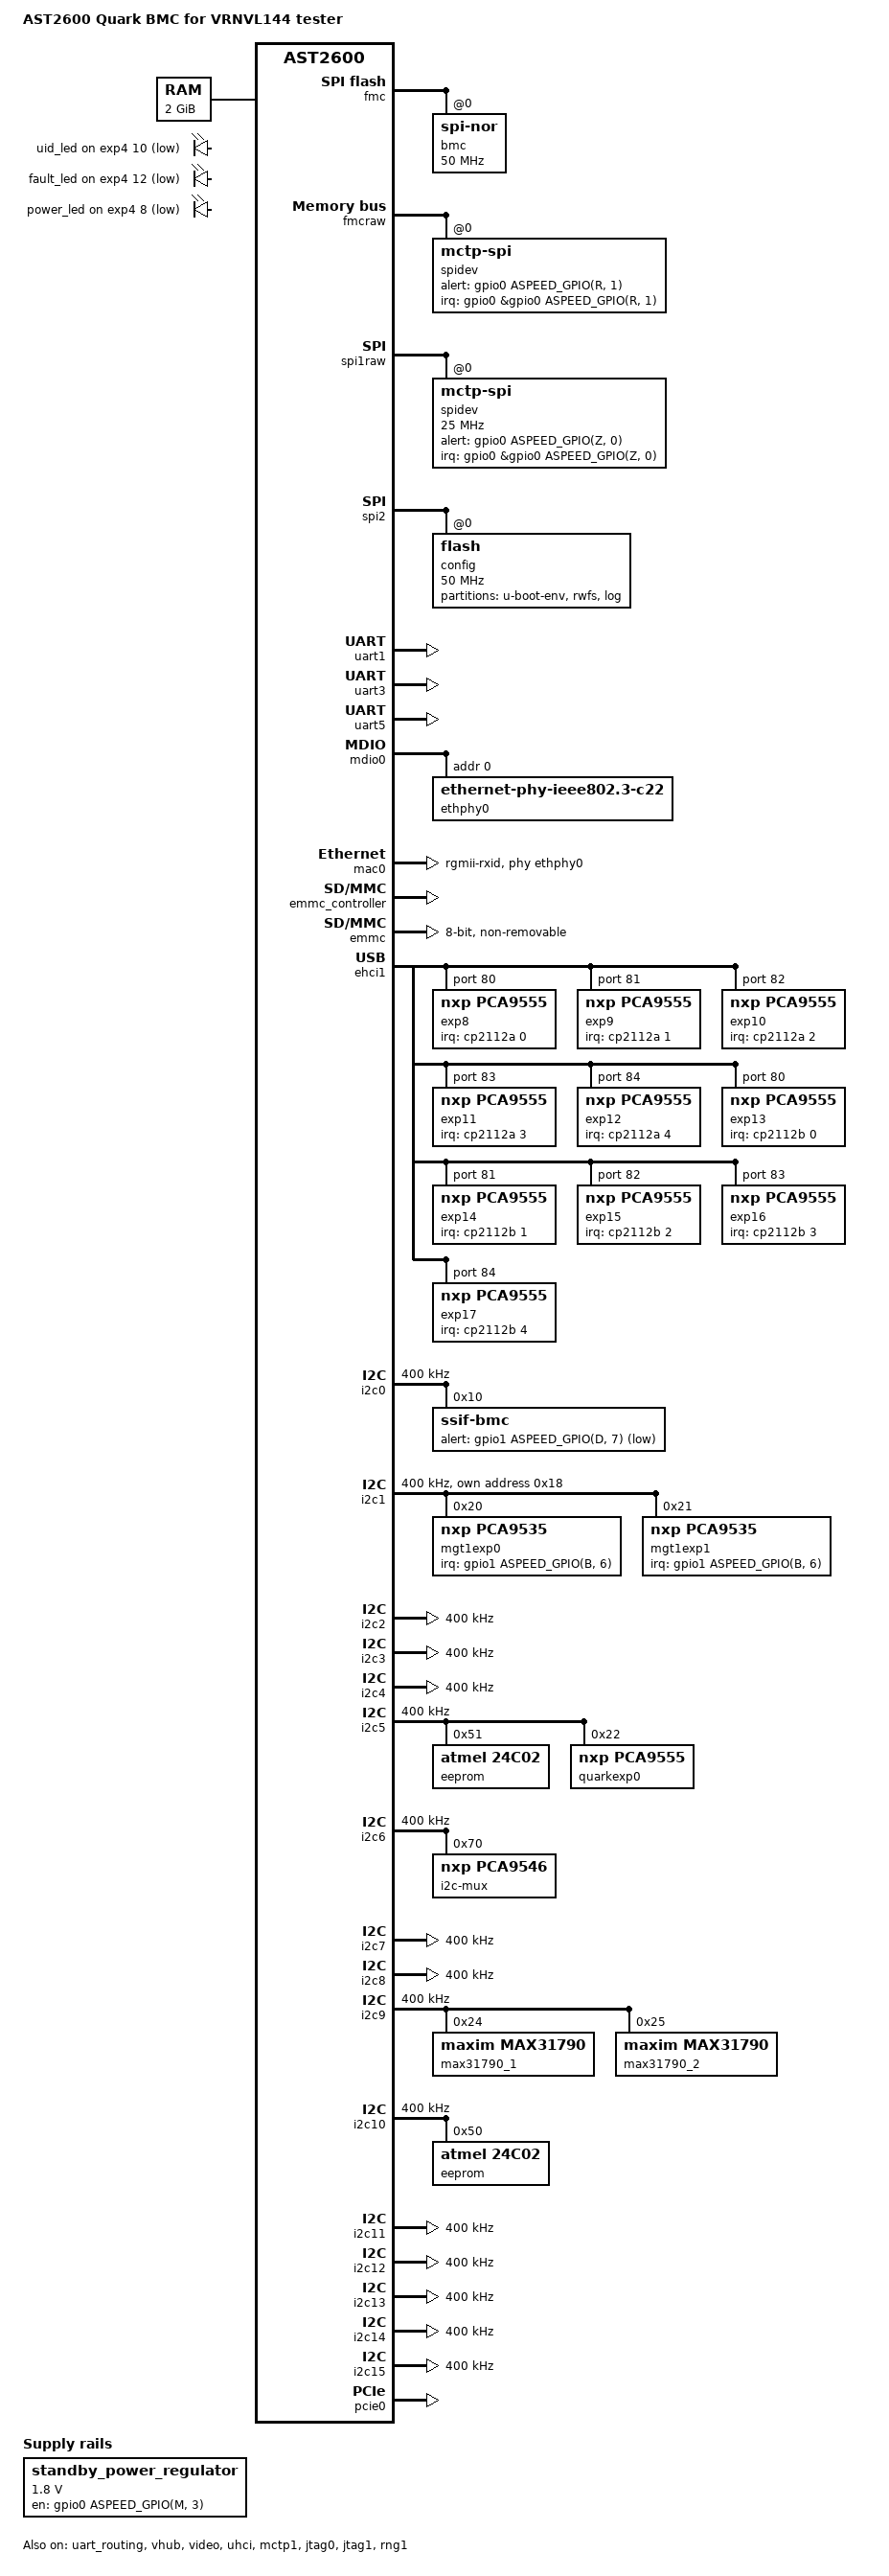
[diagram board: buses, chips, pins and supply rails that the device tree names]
// SPDX-License-Identifier: GPL-2.0+
/dts-v1/;

#include "nvidia-vr-bmc-nvl-core.dtsi"
#include <dt-bindings/leds/common.h>
#include <dt-bindings/i2c/i2c.h>

/ {
    model = "AST2600 Quark BMC for VRNVL144 tester";
    compatible = "aspeed,ast2600";

	aliases {
		serial2 = &uart3;
		serial4 = &uart5;
		i2c16	= &i2c_usbhub;
		i2c17	= &i2c_tpm;
		i2c18	= &i2c_dp;
		i2c19	= &i2c_rtc;
		i2c70	= &i2c70;
		i2c71	= &i2c71;
	};

	chosen {
		stdout-path = &uart5;
		bootargs = "console=tty0 console=ttyS4,115200n8 earlyprintk";
	};

	memory@80000000 {
		device_type = "memory";
		reg = <0x80000000 0x80000000>;
	};

	reserved-memory {
		#address-cells = <1>;
		#size-cells = <1>;
		ranges;

		vga_memory: framebuffer@9f000000 {
			no-map;
			reg = <0x9f000000 0x01000000>; /* 16M */
		};


		ramoops@a0000000 {
			compatible = "ramoops";
			reg = <0xa0000000 0x100000>; /* 1MB */
			record-size = <0x10000>; /* 64KB */
			max-reason = <2>; /* KMSG_DUMP_OOPS */
		};

		gfx_memory: framebuffer {
			size = <0x01000000>;
			alignment = <0x01000000>;
			compatible = "shared-dma-pool";
			reusable;
		};

		video_engine_memory: jpegbuffer {
			size = <0x02000000>;	/* 32M */
			alignment = <0x01000000>;
			compatible = "shared-dma-pool";
			reusable;
		};
	};

    power-gpios{
        n2-gpios = <&gpio0 ASPEED_GPIO(N, 2) (GPIO_ACTIVE_HIGH|GPIO_PULL_UP)>;
        n3-gpios = <&gpio0 ASPEED_GPIO(N, 3) (GPIO_ACTIVE_HIGH|GPIO_PULL_UP)>;
    };

    leds {
        compatible = "gpio-leds";
        uid_led {
                gpios = <&exp4 10 GPIO_ACTIVE_LOW>;
        };
        fault_led {
                gpios = <&exp4 12 GPIO_ACTIVE_LOW>;
        };
        power_led {
                gpios = <&exp4 8 GPIO_ACTIVE_LOW>;
        };
    };

    buttons {
        power-btn {
            gpio = <&exp4 9 GPIO_ACTIVE_LOW>;
        };
        uid-btn {
            gpio = <&exp4 11 GPIO_ACTIVE_LOW>;
        };
    };

    standby_power_regulator: standby-power-regulator {
		status = "okay";
		compatible = "regulator-fixed";
		regulator-name = "standby_power";
		gpio = <&gpio0 ASPEED_GPIO(M, 3) GPIO_ACTIVE_HIGH>;
		regulator-min-microvolt = <1800000>;
		regulator-max-microvolt = <1800000>;
		enable-active-high;
		regulator-always-on;
		regulator-boot-on;
	};
};

// Enabled Primary flash on FMC for bring up activity
&fmc {
    status = "okay";
    flash@0 {
        status = "okay";
        compatible = "jedec,spi-nor";
        label = "bmc";
        spi-max-frequency = <50000000>;
#include "aspeed-bmc-nvidia-gh-flash-layout-64.dtsi"
    };
};

&fmcraw {
    status = "okay";
    spidev@0 {
        compatible = "mctp-spi";
        alert-gpio = <&gpio0 ASPEED_GPIO(R, 1) GPIO_ACTIVE_HIGH>;
        interrupt-parent = <&gpio0>;
        interrupts = <&gpio0 ASPEED_GPIO(R, 1) GPIO_ACTIVE_HIGH>;
        status = "okay";
    };
};

&spi1raw {
    status = "okay";
    pinctrl-names = "default";
    pinctrl-0 = <&pinctrl_spi1_default>;
    spidev@0 {
        compatible = "mctp-spi";
        spi-max-frequency = <25000000>;
        alert-gpio = <&gpio0 ASPEED_GPIO(Z, 0) GPIO_ACTIVE_HIGH>;
        interrupt-parent = <&gpio0>;
        interrupts = <&gpio0 ASPEED_GPIO(Z, 0) GPIO_ACTIVE_HIGH>;
        status = "okay";
    };
};

&spi2 {
    status = "okay";
    pinctrl-names = "default";
    pinctrl-0 = <&pinctrl_spi2_default>;

    // Data SPI is 64MB in size
    flash@0 {
        status = "okay";
        label = "config";
        spi-max-frequency = <50000000>;
        partitions {
            compatible = "fixed-partitions";
            #address-cells = <1>;
            #size-cells = <1>;

            u-boot-env@0 {
                reg = <0x0 0x40000>;            // 256KB at offset 0
                label = "u-boot-env";
            };

            rwfs@40000 {
                reg = <0x40000 0x1000000>;      // 16MB at offset 0x40000
                label = "rwfs";
            };

            log@0x1040000 {
                reg = <0x1040000 0x2800000>;    // 40MB at offset 0x1040000
                label = "log";                  // Move log to EMMC, make this unused
            };
        };
    };
};

&uart1 {
        status = "okay";
};

&uart3 {
        //Enabling SOL
        status = "okay";

};

&uart5 {
    // BMC Debug Console
    status = "okay";
};

&uart_routing {
       status = "okay";
};

// MAC1 (per schematics, 1-based MAC1-MAC4) of AST2600 connected to external PHY
// This is "mac0" in zero-based DTS
&mdio0 {
    status = "okay";
    ethphy0: ethernet-phy@0 {
        compatible = "ethernet-phy-ieee802.3-c22";
        reg = <0>;
    };

};

&mac0 {
    status = "okay";
    pinctrl-names = "default";
    phy-mode = "rgmii-rxid";
    max-speed = <1000>;
    phy-handle = <&ethphy0>;
    pinctrl-0 = <&pinctrl_rgmii1_default>;
};

&mac2 {
    status = "disabled";
};


// Enable emmc
&emmc_controller {
    status = "okay";
};

&emmc {
    non-removable;
    pinctrl-0 = <&pinctrl_emmcg9_default>;
    bus-width = <8>;
    max-frequency = <200000000>;
    clk-phase-mmc-hs200 = <9>, <225>;
};

/*
 * Enable USB port A as device (via the virtual hub) to host
 */
&vhub {
    status = "okay";
    pinctrl-names = "default";
    /*
        Uncomment below line to enable internal EHCI controller
        Current config uses xHCI Port1
    */
    // pinctrl-0 = <&pinctrl_usb2adp_default>;
};

&video {
	status = "okay";
	memory-region = <&video_engine_memory>;
};

// USB 2.0 to HMC, on USB Port B
&ehci1 {
    status = "okay";

    hub@1 {
        reg = <1>;
        hub@2 {
            reg = <2>;
            hub@1 {
                reg = <1>;
                device@1 {
                    reg = <1>;
                    cp2112a: interface@1 {
                        reg = <1 1>;

                        gpio-controller;
                        interrupt-controller;
                        #gpio-cells = <2>;
                        #interrupt-cells = <2>;

                        i2c70: i2c {
                            #address-cells = <1>;
                            #size-cells = <0>;

                            exp8: pca9555@50 {
                                compatible = "nxp,pca9555";
                                reg = <0x50>;
                                gpio-controller;
                                #gpio-cells = <2>;

                                #address-cells = <1>;
                                #size-cells = <0>;
                                interrupt-controller;
                                #interrupt-cells = <2>;
                                interrupt-parent = <&cp2112a>;
                                interrupts = <0 IRQ_TYPE_LEVEL_LOW>;

                                gpio-line-names =
                                    "CPU0_IROT_RECOVERY_L_3V3-I",
                                    "CPU0_IROT_FATAL_ERR_L_3V3-I",
                                    "CPU0_OVERT_L-I",
                                    "C0_THERM_WARN_N-I",
                                    "C0_SOC_THERM_OVERT_N-I",
                                    "CPU0_CHIPTHROT_L-I",
                                    "C0_SOCAMM_0_ID_PRSNT_N-I",
                                    "C0_SOCAMM_1_ID_PRSNT_N-I",
                                    "C0_SOCAMM_2_ID_PRSNT_N-I",
                                    "C0_SOCAMM_3_ID_PRSNT_N-I",
                                    "C0_SOCAMM_4_ID_PRSNT_N-I",
                                    "C0_SOCAMM_5_ID_PRSNT_N-I",
                                    "C0_SOCAMM_6_ID_PRSNT_N-I",
                                    "C0_SOCAMM_7_ID_PRSNT_N-I",
                                    "JTAG_BYPASS_CPU0_S_DIE-O",
                                    "JTAG_BYPASS_CPU0_C_DIE-O";
                            };
                            exp9: pca9555@51 {
                                compatible = "nxp,pca9555";
                                reg = <0x51>;
                                gpio-controller;
                                #gpio-cells = <2>;

                                #address-cells = <1>;
                                #size-cells = <0>;
                                interrupt-controller;
                                #interrupt-cells = <2>;
                                interrupt-parent = <&cp2112a>;
                                interrupts = <1 IRQ_TYPE_LEVEL_LOW>;

                                gpio-line-names =
                                    "C0_UPHY0_PRSNT0_L-I",
                                    "C0_UPHY0_PRSNT2_L-I",
                                    "C0_UPHY_PRSNT1_L-I",
                                    "C0_UPHY2_PRSNT0_L-I",
                                    "C0_UPHY2_PRSNT2_L-I",
                                    "C0_UPHY3_PRSNT0_L-I",
                                    "C0_UPHY3_PRSNT1_L-I",
                                    "GPU_THERM_WARN_N-I",
                                    "JTAG_BYPASS_GPU1-O",
                                    "JTAG_BYPASS_GPU2-O",
                                    "C0_ALL_SOCAMM_PGOOD-I",
                                    "DDR_VDDQ_PGOOD-I",
                                    "CPU0_OOB_CS1_L-O",
                                    "CPU0_OOB_CS0_L-O",
                                    "LEAK_SELF_TEST_L-I",
                                    "TRAY_FAST_SHDN_L-I";
                            };
                            exp10: pca9555@52 {
                                compatible = "nxp,pca9555";
                                reg = <0x52>;
                                gpio-controller;
                                #gpio-cells = <2>;

                                #address-cells = <1>;
                                #size-cells = <0>;
                                interrupt-controller;
                                #interrupt-cells = <2>;
                                interrupt-parent = <&cp2112a>;
                                interrupts = <2 IRQ_TYPE_LEVEL_LOW>;

                                gpio-line-names =
                                    "C0_WAKE_L-I",
                                    "MCU_THERM_OVERT_N-I",
                                    "MCU_THERM_WARN_N-I",
                                    "PRIMARY_NODE_L-I",
                                    "GLOBAL_WP-I",
                                    "PCIE_CLKBUF_LOS-I",
                                    "LEAK_DETECT_L-I",
                                    "vLeakDetect1Status0-I",
                                    "vLeakDetect1Status1-I",
                                    "vLeakDetect2Status0-I",
                                    "vLeakDetect2Status1-I",
                                    "BMC_IOX_INT_L-I",
                                    "MCU_BMC_ALERT_L-I",
                                    "MCU_HMC_ALERT_L-I",
                                    "MCU_USER_STRAP-I",
                                    "HPM_MCU_OK-I";
                            };
                            exp11: pca9555@53 {
                                compatible = "nxp,pca9555";
                                reg = <0x53>;
                                gpio-controller;
                                #gpio-cells = <2>;

                                #address-cells = <1>;
                                #size-cells = <0>;
                                interrupt-controller;
                                #interrupt-cells = <2>;
                                interrupt-parent = <&cp2112a>;
                                interrupts = <3 IRQ_TYPE_LEVEL_LOW>;

                                gpio-line-names =
                                    "CPLD_RESET_L-I",
                                    "CPLD_PSEQ_FAULT-I",
                                    "CPLD_READY-I",
                                    "CPLD_PROGRAM-I",
                                    "MCU_12V_HSCC_PGOOD-I",
                                    "RUN_PWR_EN-I",
                                    "MODULE_PWR_GOOD-I",
                                    "VDD_1V8_PGOOD-I",
                                    "VDD_3V3_PGOOD-I",
                                    "C0_CVDD_PGOOD-I",
                                    "C0_5V_SOCAMM_PGOOD-I",
                                    "OOB_MUX_CTRL1-O",
                                    "OOB_MUX_CTRL0-O",
                                    "C2CVDD_PGOOD-I",
                                    "SLOT_PWR_BRAKE_EN_L-I",
                                    "MCU_I2C_RTC_ALERT_L-I";
                            };
                            exp12: pca9555@54 {
                                compatible = "nxp,pca9555";
                                reg = <0x54>;
                                gpio-controller;
                                #gpio-cells = <2>;

                                #address-cells = <1>;
                                #size-cells = <0>;
                                interrupt-controller;
                                #interrupt-cells = <2>;
                                interrupt-parent = <&cp2112a>;
                                interrupts = <4 IRQ_TYPE_LEVEL_LOW>;

                                gpio-line-names =
                                    "JTAG_SEL_MCU-O",
                                    "JTAG_TCK_MCU-O",
                                    "JTAG_TMS_MCU-O",
                                    "JTAG_TDO_MCU-I",
                                    "JTAG_TDI_MCU-O",
                                    "JTAG_TRST_L_MCU-O",
                                    "CPU0_SSIF_ALERT_L_3V3-O",
                                    "USB_HMC_TO_CPU_FORCE_EN-O",
                                    "MCU_RECOVERY_L-I",
                                    "v_BUS_BAR_OVERT-I",
                                    "v_CPLD_AUTH_FAIL-I",
                                    "",
                                    "",
                                    "",
                                    "",
                                    "";
                            };
                        };
                    };
                };
            };
            hub@2 {
                reg = <2>;
                device@1 {
                    reg = <1>;
                    cp2112b: interface@1 {
                        reg = <1 1>;

                        gpio-controller;
                        interrupt-controller;
                        #gpio-cells = <2>;
                        #interrupt-cells = <2>;

                        i2c71: i2c {
                            #address-cells = <1>;
                            #size-cells = <0>;

                            exp13: pca9555@50 {
                                compatible = "nxp,pca9555";
                                reg = <0x50>;
                                gpio-controller;
                                #gpio-cells = <2>;

                                #address-cells = <1>;
                                #size-cells = <0>;
                                interrupt-controller;
                                #interrupt-cells = <2>;
                                interrupt-parent = <&cp2112b>;
                                interrupts = <0 IRQ_TYPE_LEVEL_LOW>;

                                gpio-line-names =
                                    "SEC_CPU0_IROT_RECOVERY_L_3V3-I",
                                    "SEC_CPU0_IROT_FATAL_ERR_L_3V3-I",
                                    "SEC_CPU0_OVERT_L-I",
                                    "SEC_C0_THERM_WARN_N-I",
                                    "SEC_C0_SOC_THERM_OVERT_N-I",
                                    "SEC_CPU0_CHIPTHROT_L-I",
                                    "SEC_C0_SOCAMM_0_ID_PRSNT_N-I",
                                    "SEC_C0_SOCAMM_1_ID_PRSNT_N-I",
                                    "SEC_C0_SOCAMM_2_ID_PRSNT_N-I",
                                    "SEC_C0_SOCAMM_3_ID_PRSNT_N-I",
                                    "SEC_C0_SOCAMM_4_ID_PRSNT_N-I",
                                    "SEC_C0_SOCAMM_5_ID_PRSNT_N-I",
                                    "SEC_C0_SOCAMM_6_ID_PRSNT_N-I",
                                    "SEC_C0_SOCAMM_7_ID_PRSNT_N-I",
                                    "SEC_JTAG_BYPASS_CPU0_S_DIE-O",
                                    "SEC_JTAG_BYPASS_CPU0_C_DIE-O";
                            };
                            exp14: pca9555@51 {
                                compatible = "nxp,pca9555";
                                reg = <0x51>;
                                gpio-controller;
                                #gpio-cells = <2>;

                                #address-cells = <1>;
                                #size-cells = <0>;
                                interrupt-controller;
                                #interrupt-cells = <2>;
                                interrupt-parent = <&cp2112b>;
                                interrupts = <1 IRQ_TYPE_LEVEL_LOW>;

                                gpio-line-names =
                                    "SEC_C0_UPHY0_PRSNT0_L-I",
                                    "SEC_C0_UPHY0_PRSNT2_L-I",
                                    "SEC_C0_UPHY_PRSNT1_L-I",
                                    "SEC_C0_UPHY2_PRSNT0_L-I",
                                    "SEC_C0_UPHY2_PRSNT2_L-I",
                                    "SEC_C0_UPHY3_PRSNT0_L-I",
                                    "SEC_C0_UPHY3_PRSNT1_L-I",
                                    "SEC_GPU_THERM_WARN_N-I",
                                    "SEC_JTAG_BYPASS_GPU1-O",
                                    "SEC_JTAG_BYPASS_GPU2-O",
                                    "SEC_C0_ALL_SOCAMM_PGOOD-I",
                                    "SEC_DDR_VDDQ_PGOOD-I",
                                    "SEC_CPU0_OOB_CS1_L-O",
                                    "SEC_CPU0_OOB_CS0_L-O",
                                    "SEC_LEAK_SELF_TEST_L-I",
                                    "SEC_TRAY_FAST_SHDN_L-I";
                            };
                            exp15: pca9555@52 {
                                compatible = "nxp,pca9555";
                                reg = <0x52>;
                                gpio-controller;
                                #gpio-cells = <2>;

                                #address-cells = <1>;
                                #size-cells = <0>;
                                interrupt-controller;
                                #interrupt-cells = <2>;
                                interrupt-parent = <&cp2112b>;
                                interrupts = <2 IRQ_TYPE_LEVEL_LOW>;

                                gpio-line-names =
                                    "SEC_C0_WAKE_L-I",
                                    "SEC_MCU_THERM_OVERT_N-I",
                                    "SEC_MCU_THERM_WARN_N-I",
                                    "SEC_PRIMARY_NODE_L-I",
                                    "SEC_GLOBAL_WP-I",
                                    "SEC_PCIE_CLKBUF_LOS-I",
                                    "SEC_LEAK_DETECT_L-I",
                                    "SEC_vLeakDetect1Status0-I",
                                    "SEC_vLeakDetect1Status1-I",
                                    "SEC_vLeakDetect2Status0-I",
                                    "SEC_vLeakDetect2Status1-I",
                                    "SEC_BMC_IOX_INT_L-I",
                                    "SEC_MCU_BMC_ALERT_L-I",
                                    "SEC_MCU_HMC_ALERT_L-I",
                                    "SEC_MCU_USER_STRAP-I",
                                    "SEC_HPM_MCU_OK-I";
                            };
                            exp16: pca9555@53 {
                                compatible = "nxp,pca9555";
                                reg = <0x53>;
                                gpio-controller;
                                #gpio-cells = <2>;

                                #address-cells = <1>;
                                #size-cells = <0>;
                                interrupt-controller;
                                #interrupt-cells = <2>;
                                interrupt-parent = <&cp2112b>;
                                interrupts = <3 IRQ_TYPE_LEVEL_LOW>;

                                gpio-line-names =
                                    "SEC_CPLD_RESET_L-I",
                                    "SEC_CPLD_PSEQ_FAULT-I",
                                    "SEC_CPLD_READY-I",
                                    "SEC_CPLD_PROGRAM-I",
                                    "SEC_MCU_12V_HSCC_PGOOD-I",
                                    "SEC_RUN_PWR_EN-I",
                                    "SEC_MODULE_PWR_GOOD-I",
                                    "SEC_VDD_1V8_PGOOD-I",
                                    "SEC_VDD_3V3_PGOOD-I",
                                    "SEC_C0_CVDD_PGOOD-I",
                                    "SEC_C0_5V_SOCAMM_PGOOD-I",
                                    "SEC_OOB_MUX_CTRL1-O",
                                    "SEC_OOB_MUX_CTRL0-O",
                                    "SEC_C2CVDD_PGOOD-I",
                                    "SEC_SLOT_PWR_BRAKE_EN_L-I",
                                    "SEC_MCU_I2C_RTC_ALERT_L-I";
                            };
                            exp17: pca9555@54 {
                                compatible = "nxp,pca9555";
                                reg = <0x54>;
                                gpio-controller;
                                #gpio-cells = <2>;

                                #address-cells = <1>;
                                #size-cells = <0>;
                                interrupt-controller;
                                #interrupt-cells = <2>;
                                interrupt-parent = <&cp2112b>;
                                interrupts = <4 IRQ_TYPE_LEVEL_LOW>;

                                gpio-line-names =
                                    "SEC_JTAG_SEL_MCU-O",
                                    "SEC_JTAG_TCK_MCU-O",
                                    "SEC_JTAG_TMS_MCU-O",
                                    "SEC_JTAG_TDO_MCU-I",
                                    "SEC_JTAG_TDI_MCU-O",
                                    "SEC_JTAG_TRST_L_MCU-O",
                                    "SEC_CPU0_SSIF_ALERT_L_3V3-O",
                                    "SEC_USB_HMC_TO_CPU_FORCE_EN-O",
                                    "SEC_MCU_RECOVERY_L-I",
                                    "SEC_v_BUS_BAR_OVERT-I",
                                    "SEC_v_CPLD_AUTH_FAIL-I",
                                    "",
                                    "",
                                    "",
                                    "",
                                    "";
                            };
                        };
                    };
                };
            };
        };
    };
};

// USB 1.0
&uhci {
   status = "okay";
};

// I2C1, SSIF IPMI interface
&i2c0 {
    status = "okay";
    clock-frequency = <400000>;
    disable-master = <1>;
    i2c-scl-clk-low-timeout-us = <128000>;
    i2c-tck-thddat-config = <0x0099EC00>;
    tout-baseclk-div = <4096>;

    ssif-bmc@10 {
        compatible = "ssif-bmc";
        alert-gpio = <&gpio1 ASPEED_GPIO(D, 7) GPIO_ACTIVE_LOW>;
        pulse_width_us = <5>;
        timeout_ms = <4995>;
        reg = <0x10>;
        };
};

// I2C2
// BMC_I2C1_FPGA - Secondary FPGA
// HMC EROT
&i2c1 {
    status = "okay";
    clock-frequency = <400000>;
    i2c-scl-clk-low-timeout-us = <32000>;
    i2c-tck-thddat-config = <0x0099EC00>;

    // Enable MCTP for this i2c bus needed for Parsec board.
    mctp-controller;
    multi-master;

    mctp@18 {
        compatible = "mctp-i2c-controller";
        reg = <(0x18 | I2C_OWN_SLAVE_ADDRESS)>;

        /* NACK Retry Config */
        i2c-nack-retries = <32>;
        i2c-nack-retry-delay-us = <0>;
        i2c-nack-retry-addr = <0x52>;
    };

    /* HBM MCU GPIOs on I2C_MGMT1 bus.
     * These IOEXPs are only present when HMC-bypass mode is configured.
     */

    // MGMT1 BOARD0, Expander @0x20
    mgt1exp0: tca9535@20 {
        compatible = "nxp,pca9535";
        reg = <0x20>;
        gpio-controller;
        #gpio-cells = <2>;
        interrupt-controller;
        #interrupt-cells = <2>;
        interrupt-parent = <&gpio1>;
        interrupts = <ASPEED_GPIO(B, 6) IRQ_TYPE_LEVEL_LOW>;

        gpio-line-names =
            "BRD0_MCU_RESET_L-O",
            "BRD0_MCU_RECOVERY_L-O",
            "BRD0_GPU_MCU_RESET_L_3V3-O",
            "BRD0_GPU_MCU_RECOVERY_L_3V3-O",
            "BRD0_THERM_OVERT_L-I",
            "BRD0_THERM_WARN_L-I",
            "BRD0_HMC_IST_PRE_RST_L-O",
            "BRD0_CPLD_READY-I",
            "BRD0_MODULE_PWR_GOOD-I",
            "BRD0_MCU_HMC_ALERT_L-I",
            "BRD0_USB_HMC_HUB_RST_L-O",
            "BRD0_HPM_MCU_OK-I",
            "BRD0_CPU0_SHDN_OK_L_3V3-I",
            "BRD0_CPLD_AUTH_FAIL_L-I",
            "BRD0_IST_SYS_RST_L-O",
            "BRD0_PWR_BRAKE_STATUS_L-I";
    };

    // MGMT1 BOARD0, Expander @0x21
    mgt1exp1: tca9535@21 {
        compatible = "nxp,pca9535";
        reg = <0x21>;
        gpio-controller;
        #gpio-cells = <2>;
        interrupt-controller;
        #interrupt-cells = <2>;
        interrupt-parent = <&gpio1>;
        interrupts = <ASPEED_GPIO(B, 6) IRQ_TYPE_LEVEL_LOW>;

        gpio-line-names =
            "BRD0_CPU_FORCED_RECOVERY_L-O",
            "BRD0_CPU_BOOT_DEV_SEL0-O",
            "BRD0_CPU_BOOT_DEV_SEL1-O",
            "BRD0_CPU_BOOT_DEV_SEL2-O",
            "BRD0_BOARD_ID_0-I",
            "BRD0_CPU_RECOVERY_TYPE0-O",
            "BRD0_CPU_RECOVERY_TYPE1-O",
            "BRD0_CPU_IST_BOOT_HMC-O",
            "BRD0_CPU_BOOT_CHAIN0-O",
            "BRD0_BOARD_ID_1-I",
            "BRD0_HMC_TO_MCU_I2C_EN-O",
            "BRD0_CPU_DIE_SEL0-O",
            "BRD0_CPU_DIE_SEL1-O",
            "BRD0_CPU_DIE_SEL2-O",
            "BRD0_CPU_BOOT_COMPLETE-I",
            "BRD0_IOX_JTAG_NVSEL-O";
    };
};

// I2C3
// BMC_I2C0_FPGA - Primary FPGA
// HMC FRU EEPROM
&i2c2 {
    status = "okay";
    clock-frequency = <400000>;
    i2c-scl-clk-low-timeout-us = <32000>;
    i2c-tck-thddat-config = <0x0099EC00>;
};

// I2C4
&i2c3 {
    status = "ok";
    clock-frequency = <400000>;
};

// I2C5
// RTC Driver
// IO Expander
&i2c4 {
    status = "okay";
    clock-frequency = <400000>;
    i2c-tck-thddat-config = <0x0099EC00>;
};

// I2C6
// Module 0/1 I2C MUX x3
&i2c5 {
    status = "okay";
    clock-frequency = <400000>;
    i2c-scl-clk-low-timeout-us = <32000>;
    i2c-tck-thddat-config = <0x0099EC00>;

    //E5074 Tester Board FRU
    eeprom@51 {
        compatible = "atmel,24c02";
        reg = <0x51>;
        pagesize = <8>;
    };

    /* Quark Tester I/O Expander 0 */
	quarkexp0: pca9555@22 {
		compatible = "nxp,pca9555";
		reg = <0x22>;
		gpio-controller;
		#gpio-cells = <2>;
		#address-cells = <1>;
		#size-cells = <0>;

		gpio-line-names =
			"PEXSW_FL_SPI_MUX_SEL-O",
			"PEX_SW_FATAL_ERROR_3V3_L-I",
			"BMC_FANCTRL_FAIL_L-I",
			"PDB_PWROK-I",
			"BMC_FAN_PWR_EN-O",
			"BMC_ETHERNET_INT-I",
			"BMC_ENET_RST-O",
			"IOEXP_BMC_SELF_PWR_CYCLE-O",
			"BMC_ID-I",
			"IOEXP_BMC_RST_12V-O",
			"IOEXP_TPM_RST_N-O",
			"TPM_DOWN_SPI_INT_L-I",
			"PS_BRD_PGOOD-I",
			"IOEXP_BMC_RST_USB_CONTRL-O",
			"BMC_ENET_SW_I2C_ISO_EN-O",
			"PEX_BMC_CLKREQ_L-O";
	};
};

/* Quark-specific GPIO definitions for system I/O expanders
 * (i2c-address: 0x20, 0x21 @ i2c-5)
 */
&exp4 {
	compatible = "nxp,pca9555";
	reg = <0x20>;
	gpio-controller;
	#gpio-cells = <2>;

	#address-cells = <1>;
	#size-cells = <0>;
	interrupt-controller;
	#interrupt-cells = <2>;
	interrupt-parent = <&gpio1>;
	interrupts = <ASPEED_GPIO(B, 6) IRQ_TYPE_LEVEL_LOW>;
	gpio-line-names =
		"HMC_RST_R_L-O",
		"HMC_RECOVERY_R-O",
		"HMC_SPI_MUX_R_SEL-O",
		"GLOBAL_WP-O",
		"HMC_READY-I",
		"HMC_PRSNT_R-I",
		"BMC_SELF_PWR_CYCLE-O",
		"EEDO_LED2-O",
		"PWR_LED_L-O",
		"PWR_BTN_L-I",
		"",
		"",
		"FAULT_LED_L-O",
		"USB2_HUB1_RST_L-O",
		"",
		"BMC_SHUTOFF_VALVE";
};

&exp5 {
	compatible = "nxp,pca9555";
        reg = <0x21>;
        gpio-controller;
        #gpio-cells = <2>;

        #address-cells = <1>;
        #size-cells = <0>;
        interrupt-controller;
        #interrupt-cells = <2>;
        interrupt-parent = <&gpio1>;
        interrupts = <ASPEED_GPIO(B, 6) IRQ_TYPE_LEVEL_LOW>;
        gpio-line-names =
		"BMC_HMC_MUX_SEL-O",
		"",
		"BMC_USB2_MUX_SEL-O",
		"HMC_PGOOD_3V3-I",
		"M2_PRSNT_L-I",
		"",
		"",
		"",
		"PDB_TRAY_PRSNT",
		"USB3_MUX_EN_L-O",
		"PDB_TRAY_RST-O",
		"USB_PWR_EN-O",
		"RTC_CLR_L-O",
		"I2C_RTC_ALERT_L-I",
		"I2C_PDB_ALERT_L-I",
		"PDB_TRAY_PRSNT_N-I";
};

// I2C7
// Module 0/1 Leak Sensors
// Module 0/1 Fan Controllers
&i2c6 {
	status = "okay";
	clock-frequency = <400000>;
	i2c-tck-thddat-config = <0x0099EC00>;

	i2c-mux@70 {
		compatible = "nxp,pca9546";
		#address-cells = <1>;
		#size-cells = <0>;
		reg = <0x70>;
		i2c-mux-idle-disconnect;

		i2c_usbhub: i2c@0 {
			#address-cells = <1>;
			#size-cells = <0>;
			reg = <0>;
		};

		i2c_tpm: i2c@1 {
			#address-cells = <1>;
			#size-cells = <0>;
			reg = <1>;
		};

		i2c_dp: i2c@2 {
			#address-cells = <1>;
			#size-cells = <0>;
			reg = <2>;
		};

		i2c_rtc: i2c@3 {
			#address-cells = <1>;
			#size-cells = <0>;
			reg = <3>;
		};
	};
};

// I2C8
&i2c7 {
    status = "okay";
    clock-frequency = <400000>;
};

// I2C9
&i2c8 {
    status = "okay";
    clock-frequency = <400000>;
};

// I2C10
// HMC IO Expander
// Module 0/1 IO Expanders
&i2c9 {
    status = "okay";
    clock-frequency = <400000>;
    i2c-tck-thddat-config = <0x0099EC00>;

    max31790_1 {
        compatible = "maxim,max31790";
        reg = <0x24>;
        #address-cells = <1>;
        #size-cells = <0>;
    };
    max31790_2 {
        compatible = "maxim,max31790";
        reg = <0x25>;
        #address-cells = <1>;
        #size-cells = <0>;
    };
    max31790_3 {
        status = "disabled";
    };
    max31790_4 {
        status = "disabled";
    };
};

// I2C11
// BMC FRU EEPROM
// BMC Temp Sensor
&i2c10 {
    status = "okay";
    clock-frequency = <400000>;
    i2c-tck-thddat-config = <0x0099EC00>;
    // BMC FRU EEPROM - 256 bytes
    eeprom@50 {
        compatible = "atmel,24c02";
        reg = <0x50>;
        pagesize = <8>;
    };
};

// I2C12
&i2c11 {
    status = "ok";
    clock-frequency = <400000>;
};

// I2C13
&i2c12 {
    status = "ok";
    clock-frequency = <400000>;
};

// I2C14
// Module 0 UPHY3 SMBus
&i2c13 {
    status = "ok";
    clock-frequency = <400000>;
};

// I2C15
// Module 1 UPHY3 SMBus
&i2c14 {
    status = "okay";
    clock-frequency = <400000>;
};

// I2C16
&i2c15 {
    status = "okay";
    clock-frequency = <400000>;
};

// PCIe RC
&pcie0 {
    status = "okay";

    interrupts = <GIC_SPI 168 IRQ_TYPE_LEVEL_HIGH>;
};

&mctp1 {
    status = "okay";
};

&jtag0 {
    status = "okay";
};

&jtag1 {
    status = "okay";
};

&rng1 {
    status = "okay";
};
